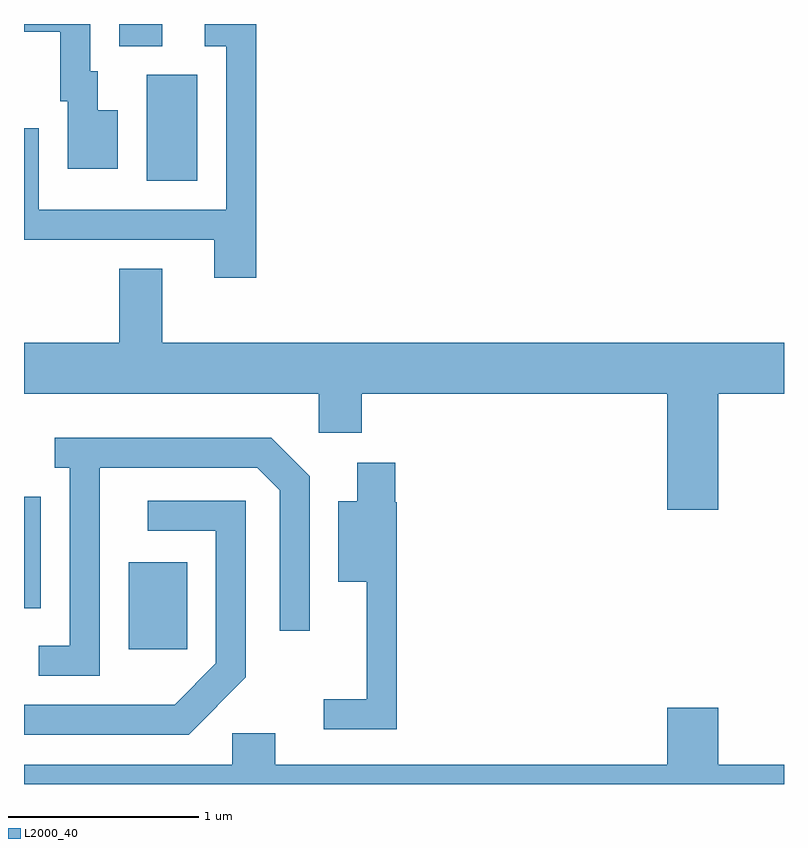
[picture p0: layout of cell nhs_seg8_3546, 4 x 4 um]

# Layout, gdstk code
import gdstk
lib = gdstk.Library(unit=1e-6, precision=1e-09)
def R(c, l, rs):  # rectangles x0, y0, x1, y1
    for r in rs: c.add(gdstk.rectangle(r[:2], r[2:], *l))
def P(c, l, *ps):  # polygons
    for p in ps: c.add(gdstk.Polygon(p, *l))
L2000_40 = (2000, 40)

nhs_seg8_3546 = lib.new_cell('nhs_seg8_3546')
R(nhs_seg8_3546, L2000_40, [(292.161,1855.051,292.469,1855.509), (291.611,1855.268,291.699,1855.854), (292.256,1857.516,292.524,1858.074), (292.111,1858.226,292.339,1858.342)])
P(nhs_seg8_3546, L2000_40, [(292.104,1857.889),(291.999,1857.889),(291.999,1858.094),(291.959,1858.094),(291.959,1858.342),(291.611,1858.342),(291.611,1858.301),(291.801,1858.301),(291.801,1857.936),(291.841,1857.936),(291.841,1857.581),(292.104,1857.581)],
  [(292.834,1858.342),(292.563,1858.342),(292.563,1858.226),(292.676,1858.226),(292.676,1857.364),(291.689,1857.364),(291.689,1857.793),(291.611,1857.793),(291.611,1857.206),(292.611,1857.206),(292.611,1857.006),(292.834,1857.006)],
  [(295.264,1856.396),(295.611,1856.396),(295.611,1856.664),(292.339,1856.664),(292.339,1857.054),(292.111,1857.054),(292.111,1856.664),(291.611,1856.664),(291.611,1856.396),(293.161,1856.396),(293.161,1856.191),(293.389,1856.191),(293.389,1856.396),(294.996,1856.396),(294.996,1855.786),(295.264,1855.786)],
  [(292.009,1856.006),(292.839,1856.006),(292.956,1855.889),(292.956,1855.148),(293.114,1855.148),(293.114,1855.962),(292.912,1856.164),(291.773,1856.164),(291.773,1856.006),(291.851,1856.006),(291.851,1855.069),(291.688,1855.069),(291.688,1854.911),(292.009,1854.911)],
  [(293.574,1855.825),(293.564,1855.825),(293.564,1856.034),(293.366,1856.034),(293.366,1855.829),(293.266,1855.829),(293.266,1855.406),(293.416,1855.406),(293.416,1854.789),(293.188,1854.789),(293.188,1854.631),(293.574,1854.631)],
  [(292.779,1854.904),(292.779,1855.834),(292.263,1855.834),(292.263,1855.676),(292.621,1855.676),(292.621,1854.977),(292.404,1854.759),(291.611,1854.759),(291.611,1854.601),(292.477,1854.601)],
  [(295.611,1854.444),(295.264,1854.444),(295.264,1854.744),(294.996,1854.744),(294.996,1854.444),(292.934,1854.444),(292.934,1854.609),(292.706,1854.609),(292.706,1854.444),(291.611,1854.444),(291.611,1854.342),(295.611,1854.342)])

lib.write_gds('nhs_seg8_3546.gds')
